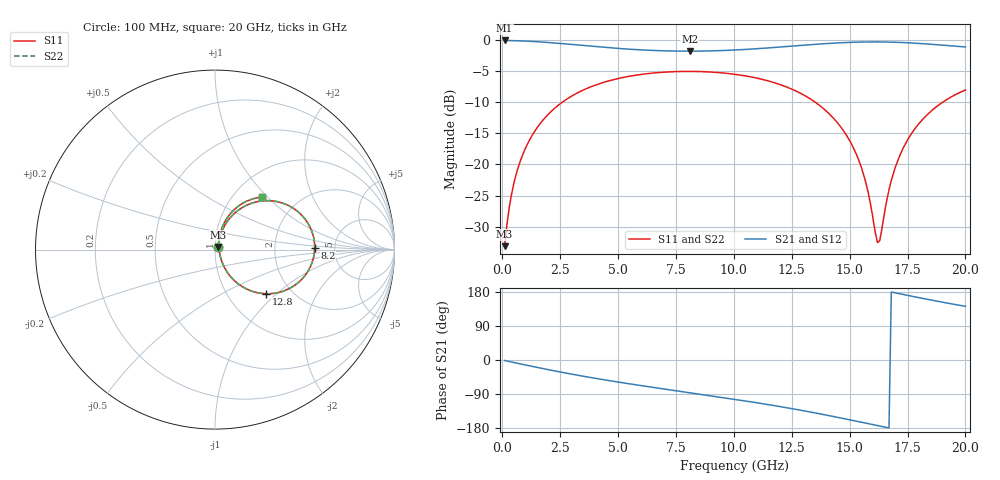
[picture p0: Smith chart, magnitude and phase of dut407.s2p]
! Touchstone file exported from HFSS 2026.1.0
!  File:  C:/ffzhzh/LocalFiles/Ansys_Project_Files/temp_train_TSV_RDL_407_1783093734_50312.aedt
!  Generated:  12:00:04 AM Jul  4, 2026
!  Design:  TSV_RDL
!  Project:  temp_train_TSV_RDL_407_1783093734_50312
! Variables:
!  h_bsmrdl = 5.42um
!  h_ox = 20um
!  h_rdl = 5um
!  h_sub = 56.93um
!  h_tmrdl = 4.64um
!  h_tsv = 56.93um
!  h_via = 3um
!  l_bsmrdl = 612.8um
!  l_sub = 3737.81um
!  l_tmrdl = 342.16um
!  m_sub = 200um
!  pitch = 52.37um
!  r_tsv = 3.07um
!  s_tmrdl = 10um
!  w_bsmrdl = 29.13um
!  w_sub = 500um
!  w_tmrdl = 14.46um
!  x_tsv_center1 = 349.39um
!  x_tsv_center2 = 991.32um
!  x_tsv_center3 = 1347.94um
!  x_tsv_center4 = 1989.87um
!  x_tsv_center5 = 2346.49um
!  x_tsv_center6 = 2988.42um
# GHz S MA R 50.000000
! Terminal data exported
! Port[1] = TM_RDL1_1_T1
! Port[2] = TM_RDL5_1_T1
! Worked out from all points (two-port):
!   200 points, 100 MHz to 20 GHz, reference 50 ohm
!   highest |S21| = -0.15 dB at 100 MHz (marker M1); lowest = -1.9 dB at 8.1 GHz (marker M2)
!   |S21| within 3 dB of the highest: start of sweep to end of sweep
!   lowest |S11| = -33.1 dB at 100 MHz (marker M3), VSWR 1.05, Z = 51.7 + j1.44 ohm
!   |S11| at or under -10 dB: start of sweep to 2.605 GHz; 13.5 GHz to 19.03 GHz (5.535 GHz wide, 34 % of centre)
!   |S22| runs from -33.1 to -5.1 dB; largest |S21 - S12| = 1.7e-14
!   S11 on the Smith chart (normalised r, x): 100 MHz: 1.03, +0.03; 8.2 GHz: 3.50, +0.11; 12.8 GHz: 1.50, -0.86; 20 GHz: 1.35, +0.93
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0.1  0.02214 39.0  0.983 -1.4  0.983 -1.4  0.02214 39.0
! Gamma 0 0 0 0
! Port Impedance 50 0 50 0
0.3  0.04509 62.7  0.9812 -4.0  0.9812 -4.0  0.04509 62.7
0.5  0.07051 68.3  0.9792 -6.6  0.9792 -6.6  0.07051 68.3
1.1  0.1473 68.0  0.9698 -14.4  0.9698 -14.4  0.1473 68.0
2.1  0.2645 58.5  0.9432 -26.9  0.9432 -26.9  0.2645 58.5
3.5  0.3943 43.8  0.8955 -42.9  0.8955 -42.9  0.3943 43.8
6.8  0.5447 13.0  0.8139 -74.9  0.8139 -74.9  0.5447 13.0
8.1  0.5557 2.0  0.8067 -86.4  0.8067 -86.4  0.5557 2.0
8.2  0.5555 1.1  0.8068 -87.2  0.8068 -87.2  0.5555 1.1
10.1  0.5249 -15.2  0.8253 -104.3  0.8253 -104.3  0.5249 -15.2
12.8  0.3775 -40.7  0.8944 -131.6  0.8944 -131.6  0.3775 -40.7
13.4  0.3255 -46.7  0.912 -138.4  0.912 -138.4  0.3255 -46.7
14.4  0.2237 -56.4  0.9376 -150.3  0.9376 -150.3  0.2237 -56.5
15.2  0.1314 -61.9  0.9515 -160.2  0.9515 -160.2  0.1313 -62.0
15.7  0.07149 -59.4  0.956 -166.6  0.956 -166.6  0.07144 -59.5
16.2  0.02367 -6.2  0.9568 -173.0  0.9568 -173.0  0.02345 -6.3
16.3  0.02447 22.9  0.9565 -174.2  0.9565 -174.2  0.02424 23.0
16.7  0.06243 67.5  0.9538 -179.4  0.9538 -179.4  0.06233 67.7
17.2  0.1215 72.1  0.9472 174.3  0.9472 174.3  0.1215 72.2
17.9  0.2019 68.0  0.933 165.6  0.933 165.6  0.2018 68.1
18.8  0.2946 59.7  0.9084 154.9  0.9084 154.9  0.2946 59.8
20  0.3943 48.0  0.8717 141.6  0.8717 141.6  0.3943 48.0
